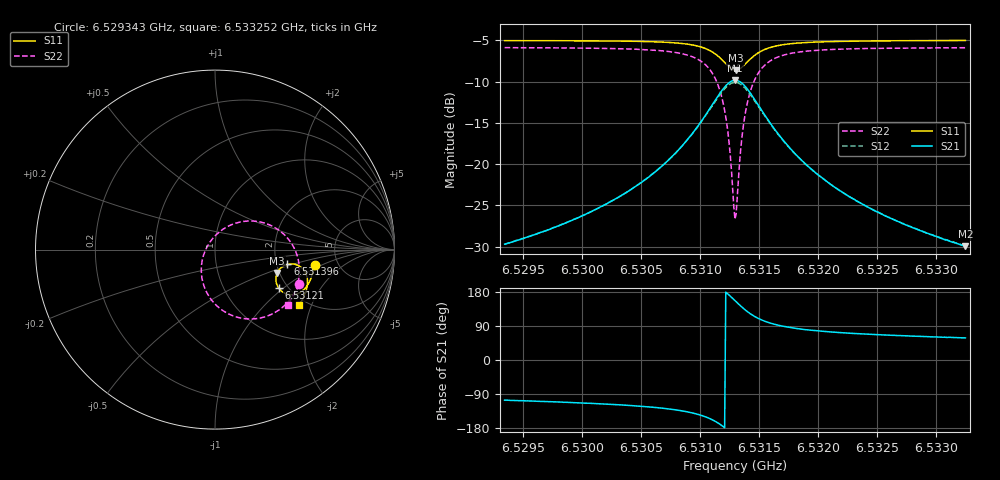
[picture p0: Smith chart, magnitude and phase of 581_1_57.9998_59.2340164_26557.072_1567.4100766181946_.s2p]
#  HZ  S  RI  R  50.00
! Rohde & Schwarz Vector Network Analyzer
! Rohde-Schwarz,ZNB20-2Port,1311601062101988,3.16
! Created: UTC 3/21/2024, 1:16:19 AM
! freq[Hz]  re:S11  im:S11  re:S21  im:S21  re:S12  im:S12  re:S22  im:S22
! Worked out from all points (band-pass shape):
!   401 points, 6.529343 GHz to 6.533252 GHz, reference 50 ohm
!   highest |S21| = -9.83 dB at 6.531298 GHz (marker M1); lowest = -30.0 dB at 6.533252 GHz (marker M2)
!   |S21| within 3 dB of the highest: 6.531104 GHz to 6.531495 GHz (390.6 kHz wide, 0.00598 % of centre)
!   lowest |S11| = -8.6 dB at 6.531308 GHz (marker M3), VSWR 2.18, Z = 97.2 - j29.3 ohm
!   |S11| at or under -10 dB: nowhere
!   |S22| runs from -26.7 to -5.9 dB; largest |S21 - S12| = 0.013
!   S11 on the Smith chart (normalised r, x): 6.529343 GHz: 3.34, -0.81; 6.53121 GHz: 1.79, -0.92; 6.531396 GHz: 2.29, -0.45; 6.533252 GHz: 1.82, -1.64
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6.5293432e9  0.5545 -0.0831  -0.00899 -0.0315  -0.0096 -0.0311  0.4703 -0.1938
6.529998e9  0.5422 -0.1379  -0.0193 -0.0445  -0.0203 -0.0441  0.4365 -0.2545
6.5303693e9  0.5293 -0.173  -0.0327 -0.0584  -0.0342 -0.0576  0.4011 -0.2982
6.5306528e9  0.5114 -0.2042  -0.0554 -0.0758  -0.0576 -0.0741  0.3499 -0.3408
6.5308775e9  0.4827 -0.2331  -0.0976 -0.0948  -0.1005 -0.0912  0.2651 -0.378
6.5310437e9  0.4366 -0.2509  -0.1692 -0.0995  -0.1712 -0.0923  0.1345 -0.3794
6.5311414e9  0.3899 -0.2434  -0.2411 -0.0699  -0.2395 -0.0597  0.0146 -0.317
6.5312098e9  0.3541 -0.2133  -0.2933 -0.00708  -0.2863 0.00315  -0.0613 -0.2028
6.5312391e9  0.3434 -0.1914  -0.3063 0.0336  -0.297 0.0425  -0.0758 -0.133
6.5312782e9  0.3396 -0.1567  -0.3058 0.0964  -0.2941 0.1016  -0.0638 -0.0308
6.5312978e9  0.3433 -0.1388  -0.2962 0.1275  -0.2842 0.1306  -0.0425 0.0186
6.5313076e9  0.3465 -0.1302  -0.2892 0.1425  -0.2771 0.1444  -0.0283 0.0415
6.5313173e9  0.3507 -0.1222  -0.2807 0.1564  -0.2689 0.1574  -0.012 0.0628
6.5313564e9  0.3742 -0.0959  -0.2358 0.2007  -0.2259 0.1986  0.0685 0.1277
6.5313955e9  0.4032 -0.0823  -0.1837 0.2239  -0.1766 0.22  0.158 0.1569
6.5314639e9  0.4489 -0.0829  -0.1043 0.2238  -0.1008 0.2202  0.2903 0.1428
6.5315617e9  0.4882 -0.1067  -0.037 0.1892  -0.0354 0.1872  0.3991 0.0699
6.5317083e9  0.5105 -0.1444  0.00268 0.1389  0.00395 0.1382  0.457 -0.0308
6.5319526e9  0.5153 -0.1887  0.0188 0.0904  0.0198 0.09  0.4699 -0.1315
6.5322458e9  0.5086 -0.2247  0.021 0.0614  0.0219 0.0611  0.4585 -0.198
6.5326074e9  0.4963 -0.2585  0.0197 0.0431  0.0205 0.0429  0.4394 -0.2486
6.5332524e9  0.4708 -0.3076  0.0167 0.0271  0.0173 0.0268  0.4048 -0.3073
